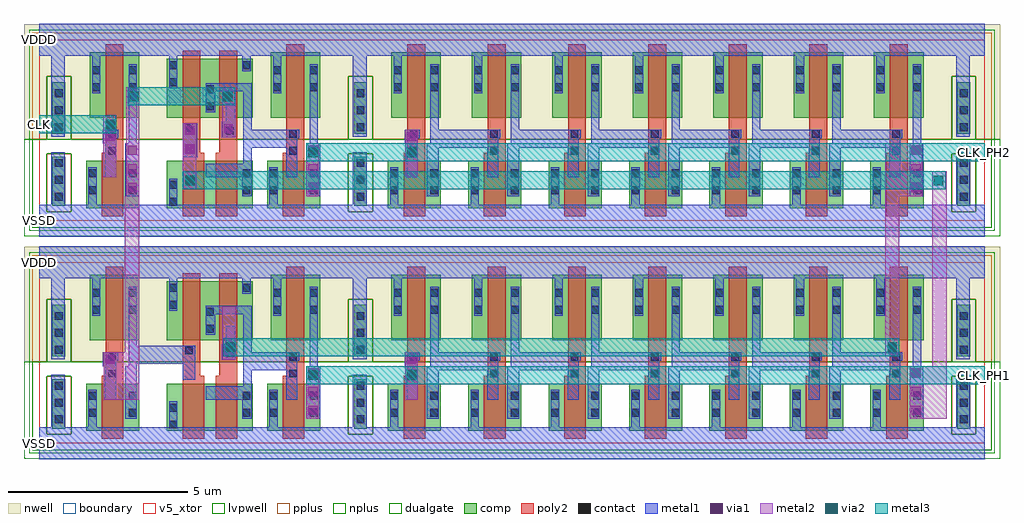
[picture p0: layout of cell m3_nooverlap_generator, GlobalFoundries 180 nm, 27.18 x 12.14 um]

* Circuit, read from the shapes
.subckt m3_nooverlap_generator CLK CLK_PH1 CLK_PH2 VDDD VSSD
XM1 gf180mcu_fd_sc_mcu9t5v0__nand2_1_5/A2 gf180mcu_fd_sc_mcu9t5v0__nand2_1_1/A1 VSSD VSSD nfet_05v0 w=1.32u l=0.6u
XM2 gf180mcu_fd_sc_mcu9t5v0__nand2_1_1/A1 CLK VSSD VSSD nfet_05v0 w=1.32u l=0.6u
XM3 n1 gf180mcu_fd_sc_mcu9t5v0__nand2_1_5/A2 VSSD VSSD nfet_05v0 w=1.32u l=0.6u
XM4 n2 gf180mcu_fd_sc_mcu9t5v0__nand2_1_1/A2 VSSD VSSD nfet_05v0 w=1.32u l=0.6u
XM5 gf180mcu_fd_sc_mcu9t5v0__inv_1_6/I gf180mcu_fd_sc_mcu9t5v0__nand2_1_5/A1 n1 VSSD nfet_05v0 w=1.32u l=0.6u
XM6 gf180mcu_fd_sc_mcu9t5v0__inv_1_16/I gf180mcu_fd_sc_mcu9t5v0__nand2_1_1/A1 n2 VSSD nfet_05v0 w=1.32u l=0.6u
XM7 CLK_PH1 gf180mcu_fd_sc_mcu9t5v0__inv_1_6/I VSSD VSSD nfet_05v0 w=1.32u l=0.6u
XM8 CLK_PH2 gf180mcu_fd_sc_mcu9t5v0__inv_1_16/I VSSD VSSD nfet_05v0 w=1.32u l=0.6u
XM9 gf180mcu_fd_sc_mcu9t5v0__inv_1_9/I CLK_PH1 VSSD VSSD nfet_05v0 w=1.32u l=0.6u
XM10 gf180mcu_fd_sc_mcu9t5v0__inv_1_19/I CLK_PH2 VSSD VSSD nfet_05v0 w=1.32u l=0.6u
XM11 gf180mcu_fd_sc_mcu9t5v0__inv_1_11/I gf180mcu_fd_sc_mcu9t5v0__inv_1_9/I VSSD VSSD nfet_05v0 w=1.32u l=0.6u
XM12 gf180mcu_fd_sc_mcu9t5v0__inv_1_21/I gf180mcu_fd_sc_mcu9t5v0__inv_1_19/I VSSD VSSD nfet_05v0 w=1.32u l=0.6u
XM13 gf180mcu_fd_sc_mcu9t5v0__inv_1_12/I gf180mcu_fd_sc_mcu9t5v0__inv_1_11/I VSSD VSSD nfet_05v0 w=1.32u l=0.6u
XM14 gf180mcu_fd_sc_mcu9t5v0__inv_1_22/I gf180mcu_fd_sc_mcu9t5v0__inv_1_21/I VSSD VSSD nfet_05v0 w=1.32u l=0.6u
XM15 gf180mcu_fd_sc_mcu9t5v0__inv_1_13/I gf180mcu_fd_sc_mcu9t5v0__inv_1_12/I VSSD VSSD nfet_05v0 w=1.32u l=0.6u
XM16 gf180mcu_fd_sc_mcu9t5v0__inv_1_23/I gf180mcu_fd_sc_mcu9t5v0__inv_1_22/I VSSD VSSD nfet_05v0 w=1.32u l=0.6u
XM17 gf180mcu_fd_sc_mcu9t5v0__inv_1_14/I gf180mcu_fd_sc_mcu9t5v0__inv_1_13/I VSSD VSSD nfet_05v0 w=1.32u l=0.6u
XM18 gf180mcu_fd_sc_mcu9t5v0__inv_1_24/I gf180mcu_fd_sc_mcu9t5v0__inv_1_23/I VSSD VSSD nfet_05v0 w=1.32u l=0.6u
XM19 gf180mcu_fd_sc_mcu9t5v0__inv_1_15/I gf180mcu_fd_sc_mcu9t5v0__inv_1_14/I VSSD VSSD nfet_05v0 w=1.32u l=0.6u
XM20 gf180mcu_fd_sc_mcu9t5v0__inv_1_25/I gf180mcu_fd_sc_mcu9t5v0__inv_1_24/I VSSD VSSD nfet_05v0 w=1.32u l=0.6u
XM21 gf180mcu_fd_sc_mcu9t5v0__nand2_1_1/A2 gf180mcu_fd_sc_mcu9t5v0__inv_1_15/I VSSD VSSD nfet_05v0 w=1.32u l=0.6u
XM22 gf180mcu_fd_sc_mcu9t5v0__nand2_1_5/A1 gf180mcu_fd_sc_mcu9t5v0__inv_1_25/I VSSD VSSD nfet_05v0 w=1.32u l=0.6u
XM23 gf180mcu_fd_sc_mcu9t5v0__nand2_1_5/A2 gf180mcu_fd_sc_mcu9t5v0__nand2_1_1/A1 VDDD VDDD pfet_05v0 w=1.83u l=0.5u
XM24 gf180mcu_fd_sc_mcu9t5v0__nand2_1_1/A1 CLK VDDD VDDD pfet_05v0 w=1.83u l=0.5u
XM25 gf180mcu_fd_sc_mcu9t5v0__inv_1_6/I gf180mcu_fd_sc_mcu9t5v0__nand2_1_5/A2 VDDD VDDD pfet_05v0 w=1.645u l=0.5u
XM26 gf180mcu_fd_sc_mcu9t5v0__inv_1_16/I gf180mcu_fd_sc_mcu9t5v0__nand2_1_1/A2 VDDD VDDD pfet_05v0 w=1.645u l=0.5u
XM27 VDDD gf180mcu_fd_sc_mcu9t5v0__nand2_1_5/A1 gf180mcu_fd_sc_mcu9t5v0__inv_1_6/I VDDD pfet_05v0 w=1.645u l=0.5u
XM28 VDDD gf180mcu_fd_sc_mcu9t5v0__nand2_1_1/A1 gf180mcu_fd_sc_mcu9t5v0__inv_1_16/I VDDD pfet_05v0 w=1.645u l=0.5u
XM29 CLK_PH1 gf180mcu_fd_sc_mcu9t5v0__inv_1_6/I VDDD VDDD pfet_05v0 w=1.83u l=0.5u
XM30 CLK_PH2 gf180mcu_fd_sc_mcu9t5v0__inv_1_16/I VDDD VDDD pfet_05v0 w=1.83u l=0.5u
XM31 gf180mcu_fd_sc_mcu9t5v0__inv_1_9/I CLK_PH1 VDDD VDDD pfet_05v0 w=1.83u l=0.5u
XM32 gf180mcu_fd_sc_mcu9t5v0__inv_1_19/I CLK_PH2 VDDD VDDD pfet_05v0 w=1.83u l=0.5u
XM33 gf180mcu_fd_sc_mcu9t5v0__inv_1_11/I gf180mcu_fd_sc_mcu9t5v0__inv_1_9/I VDDD VDDD pfet_05v0 w=1.83u l=0.5u
XM34 gf180mcu_fd_sc_mcu9t5v0__inv_1_21/I gf180mcu_fd_sc_mcu9t5v0__inv_1_19/I VDDD VDDD pfet_05v0 w=1.83u l=0.5u
XM35 gf180mcu_fd_sc_mcu9t5v0__inv_1_12/I gf180mcu_fd_sc_mcu9t5v0__inv_1_11/I VDDD VDDD pfet_05v0 w=1.83u l=0.5u
XM36 gf180mcu_fd_sc_mcu9t5v0__inv_1_22/I gf180mcu_fd_sc_mcu9t5v0__inv_1_21/I VDDD VDDD pfet_05v0 w=1.83u l=0.5u
XM37 gf180mcu_fd_sc_mcu9t5v0__inv_1_13/I gf180mcu_fd_sc_mcu9t5v0__inv_1_12/I VDDD VDDD pfet_05v0 w=1.83u l=0.5u
XM38 gf180mcu_fd_sc_mcu9t5v0__inv_1_23/I gf180mcu_fd_sc_mcu9t5v0__inv_1_22/I VDDD VDDD pfet_05v0 w=1.83u l=0.5u
XM39 gf180mcu_fd_sc_mcu9t5v0__inv_1_14/I gf180mcu_fd_sc_mcu9t5v0__inv_1_13/I VDDD VDDD pfet_05v0 w=1.83u l=0.5u
XM40 gf180mcu_fd_sc_mcu9t5v0__inv_1_24/I gf180mcu_fd_sc_mcu9t5v0__inv_1_23/I VDDD VDDD pfet_05v0 w=1.83u l=0.5u
XM41 gf180mcu_fd_sc_mcu9t5v0__inv_1_15/I gf180mcu_fd_sc_mcu9t5v0__inv_1_14/I VDDD VDDD pfet_05v0 w=1.83u l=0.5u
XM42 gf180mcu_fd_sc_mcu9t5v0__inv_1_25/I gf180mcu_fd_sc_mcu9t5v0__inv_1_24/I VDDD VDDD pfet_05v0 w=1.83u l=0.5u
XM43 gf180mcu_fd_sc_mcu9t5v0__nand2_1_1/A2 gf180mcu_fd_sc_mcu9t5v0__inv_1_15/I VDDD VDDD pfet_05v0 w=1.83u l=0.5u
XM44 gf180mcu_fd_sc_mcu9t5v0__nand2_1_5/A1 gf180mcu_fd_sc_mcu9t5v0__inv_1_25/I VDDD VDDD pfet_05v0 w=1.83u l=0.5u
.ends

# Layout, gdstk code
import gdstk
lib = gdstk.Library(unit=1e-6, precision=5e-09)
def R(c, l, rs):  # rectangles x0, y0, x1, y1
    for r in rs: c.add(gdstk.rectangle(r[:2], r[2:], *l))
def A(c, l, x, y, w, h, nx, ny, dx, dy):  # array of equal rectangles
    R(c, l, [(x+i*dx, y+j*dy, x+i*dx+w, y+j*dy+h) for i in range(nx) for j in range(ny)])
def P(c, l, *ps):  # polygons
    for p in ps: c.add(gdstk.Polygon(p, *l))
boundary = (0, 0)
nwell = (21, 0)
comp = (22, 0)
poly2 = (30, 0)
pplus = (31, 0)
nplus = (32, 0)
contact = (33, 0)
metal1 = (34, 0)
via1 = (35, 0)
metal2 = (36, 0)
via2 = (38, 0)
metal3 = (42, 0)
dualgate = (55, 0)
v5_xtor = (112, 1)
lvpwell = (204, 0)

gf180mcu_fd_sc_mcu9t5v0_ = lib.new_cell('gf180mcu_fd_sc_mcu9t5v0__inv_1')
R(gf180mcu_fd_sc_mcu9t5v0_, boundary, [(0,0,2.24,5.04)])
R(gf180mcu_fd_sc_mcu9t5v0_, nwell, [(-0.43,2.265,2.67,5.47)])
R(gf180mcu_fd_sc_mcu9t5v0_, comp, [(0.18,0.345,1.66,1.665), (0.28,2.865,1.66,4.695)])
P(gf180mcu_fd_sc_mcu9t5v0_, poly2, [(0.62,0.125),(0.62,1.885),(0.72,1.885),(0.72,4.915),(1.22,4.915),(1.22,0.125)])
R(gf180mcu_fd_sc_mcu9t5v0_, pplus, [(-0.2,2.265,2.44,5.24)])
R(gf180mcu_fd_sc_mcu9t5v0_, nplus, [(-0.2,-0.2,2.44,2.265)])
R(gf180mcu_fd_sc_mcu9t5v0_, contact, [(0.25,0.74,0.47,0.96), (1.37,0.74,1.59,0.96), (0.25,1.21,0.47,1.43), (1.37,1.21,1.59,1.43), (0.79,1.835,1.01,2.055), (0.79,2.305,1.01,2.525), (0.35,3.61,0.57,3.83), (1.37,3.61,1.59,3.83), (0.35,4.08,0.57,4.3), (1.37,4.08,1.59,4.3)])
P(gf180mcu_fd_sc_mcu9t5v0_, metal1, [(0.71,1.21),(0.71,2.53),(1.07,2.53),(1.07,2.3),(1.015,2.3),(1.015,1.21)],
  [(1.27,0.68),(1.27,2.15),(1.365,2.15),(1.365,4.36),(1.595,4.36),(1.595,0.68)],
  [(0,-0.45),(0,0.45),(0.245,0.45),(0.245,1.49),(0.475,1.49),(0.475,0.45),(2.24,0.45),(2.24,-0.45)],
  [(0.345,3.55),(0.345,4.59),(0,4.59),(0,5.49),(2.24,5.49),(2.24,4.59),(0.575,4.59),(0.575,3.55)])
R(gf180mcu_fd_sc_mcu9t5v0_, dualgate, [(-0.28,-0.28,2.52,5.32)])
R(gf180mcu_fd_sc_mcu9t5v0_, v5_xtor, [(0,0,2.24,5.04)])
R(gf180mcu_fd_sc_mcu9t5v0_, lvpwell, [(-0.43,-0.43,2.67,2.265)])
gf180mcu_fd_sc_mcu9t5v0_.add(gdstk.Label('I', (0.84,1.96), layer=34, texttype=10))
gf180mcu_fd_sc_mcu9t5v0_.add(gdstk.Label('VDD', (1.12,5.49), layer=34, texttype=10))
gf180mcu_fd_sc_mcu9t5v0_.add(gdstk.Label('VSS', (1.12,-0.45), layer=34, texttype=10))
gf180mcu_fd_sc_mcu9t5v0_.add(gdstk.Label('ZN', (1.4,1.96), layer=34, texttype=10))
gf180mcu_fd_sc_mcu9t5v0_.add(gdstk.Label('& Vendor GLOBALFOUNDRIES', (0,2), layer=63, texttype=63))
gf180mcu_fd_sc_mcu9t5v0_.add(gdstk.Label('& Product GF018hv5v_green_sc9', (0,1.5), layer=63, texttype=63))
gf180mcu_fd_sc_mcu9t5v0_.add(gdstk.Label('& Version 2015q2v2', (0,1), layer=63, texttype=63))
gf180mcu_fd_sc_mcu9t5v0_.add(gdstk.Label('& Metric 1.00', (0,0.5), layer=63, texttype=63))
gf180mcu_fd_sc_mcu9t5v0_.add(gdstk.Label('VNW', (0.345,3.92), layer=21, texttype=10))
gf180mcu_fd_sc_mcu9t5v0_.add(gdstk.Label('VPW', (0.34,-0.085), layer=204, texttype=10))

c_gf180mcu_fd_sc_mcu9t5v0_ = lib.new_cell('gf180mcu_fd_sc_mcu9t5v0__nand2_1')
R(c_gf180mcu_fd_sc_mcu9t5v0_, boundary, [(0,0,2.8,5.04)])
R(c_gf180mcu_fd_sc_mcu9t5v0_, nwell, [(-0.43,2.265,3.23,5.47)])
R(c_gf180mcu_fd_sc_mcu9t5v0_, comp, [(0.185,0.345,2.585,1.665), (0.185,2.865,2.585,4.51)])
P(c_gf180mcu_fd_sc_mcu9t5v0_, poly2, [(0.625,0.125),(0.625,4.73),(1.125,4.73),(1.125,1.885),(1.225,1.885),(1.225,0.125)],
  [(1.545,0.125),(1.545,1.885),(1.645,1.885),(1.645,4.73),(2.145,4.73),(2.145,0.125)])
R(c_gf180mcu_fd_sc_mcu9t5v0_, pplus, [(-0.2,2.265,3,5.24)])
R(c_gf180mcu_fd_sc_mcu9t5v0_, nplus, [(-0.2,-0.2,3,2.265)])
R(c_gf180mcu_fd_sc_mcu9t5v0_, contact, [(0.255,0.415,0.475,0.635), (2.295,0.74,2.515,0.96), (0.255,0.885,0.475,1.105), (2.295,1.21,2.515,1.43), (1.835,2.39,2.055,2.61), (0.695,2.475,0.915,2.695), (1.275,3.08,1.495,3.3), (1.275,3.55,1.495,3.77), (0.255,3.75,0.475,3.97), (0.255,4.22,0.475,4.44), (2.295,4.22,2.515,4.44)])
R(c_gf180mcu_fd_sc_mcu9t5v0_, metal1, [(0.635,1.77,0.975,2.71), (1.83,2.33,2.09,3.27)])
P(c_gf180mcu_fd_sc_mcu9t5v0_, metal1, [(2.29,0.68),(2.29,1.21),(1.27,1.21),(1.27,1.59),(2.32,1.59),(2.32,3.6),(1.53,3.6),(1.53,3.02),(1.27,3.02),(1.27,3.83),(2.55,3.83),(2.55,0.68)],
  [(0,-0.45),(0,0.45),(0.25,0.45),(0.25,1.165),(0.48,1.165),(0.48,0.45),(2.8,0.45),(2.8,-0.45)],
  [(0.25,3.69),(0.25,4.59),(0,4.59),(0,5.49),(2.8,5.49),(2.8,4.59),(2.52,4.59),(2.52,4.16),(2.29,4.16),(2.29,4.59),(0.48,4.59),(0.48,3.69)])
R(c_gf180mcu_fd_sc_mcu9t5v0_, dualgate, [(-0.28,-0.28,3.08,5.32)])
R(c_gf180mcu_fd_sc_mcu9t5v0_, v5_xtor, [(0,0,2.8,5.04)])
R(c_gf180mcu_fd_sc_mcu9t5v0_, lvpwell, [(-0.43,-0.43,3.23,2.265)])
c_gf180mcu_fd_sc_mcu9t5v0_.add(gdstk.Label('A1', (1.96,2.52), layer=34, texttype=10))
c_gf180mcu_fd_sc_mcu9t5v0_.add(gdstk.Label('A2', (0.84,1.96), layer=34, texttype=10))
c_gf180mcu_fd_sc_mcu9t5v0_.add(gdstk.Label('VDD', (1.4,5.49), layer=34, texttype=10))
c_gf180mcu_fd_sc_mcu9t5v0_.add(gdstk.Label('VSS', (1.4,-0.45), layer=34, texttype=10))
c_gf180mcu_fd_sc_mcu9t5v0_.add(gdstk.Label('ZN', (1.96,1.4), layer=34, texttype=10))
c_gf180mcu_fd_sc_mcu9t5v0_.add(gdstk.Label('& Vendor GLOBALFOUNDRIES', (0,2), layer=63, texttype=63))
c_gf180mcu_fd_sc_mcu9t5v0_.add(gdstk.Label('& Product GF018hv5v_green_sc9', (0,1.5), layer=63, texttype=63))
c_gf180mcu_fd_sc_mcu9t5v0_.add(gdstk.Label('& Version 2015q2v2', (0,1), layer=63, texttype=63))
c_gf180mcu_fd_sc_mcu9t5v0_.add(gdstk.Label('& Metric 1.00', (0,0.5), layer=63, texttype=63))
c_gf180mcu_fd_sc_mcu9t5v0_.add(gdstk.Label('VNW', (0.345,3.92), layer=21, texttype=10))
c_gf180mcu_fd_sc_mcu9t5v0_.add(gdstk.Label('VPW', (0.34,-0.085), layer=204, texttype=10))

c_gf180mcu_fd_sc_mcu9t5v0__ = lib.new_cell('gf180mcu_fd_sc_mcu9t5v0__filltie')
R(c_gf180mcu_fd_sc_mcu9t5v0__, boundary, [(0,0,1.12,5.04)])
R(c_gf180mcu_fd_sc_mcu9t5v0__, nwell, [(-0.43,2.265,1.55,5.47)])
R(c_gf180mcu_fd_sc_mcu9t5v0__, comp, [(0.36,0.41,0.72,1.785), (0.36,2.425,0.72,3.855)])
R(c_gf180mcu_fd_sc_mcu9t5v0__, pplus, [(0.2,0.25,0.88,1.865)])
P(c_gf180mcu_fd_sc_mcu9t5v0__, pplus, [(-0.2,2.265),(-0.2,5.24),(1.32,5.24),(1.32,2.265),(0.88,2.265),(0.88,4.015),(0.2,4.015),(0.2,2.265)])
P(c_gf180mcu_fd_sc_mcu9t5v0__, nplus, [(-0.2,-0.2),(-0.2,2.265),(0.2,2.265),(0.2,4.015),(0.88,4.015),(0.88,1.865),(0.2,1.865),(0.2,0.25),(0.88,0.25),(0.88,4.015),(0.88,2.265),(1.32,2.265),(1.32,-0.2)])
A(c_gf180mcu_fd_sc_mcu9t5v0__, contact, 0.43, 0.555, 0.22, 0.22, 1, 3, 0, 0.47)
A(c_gf180mcu_fd_sc_mcu9t5v0__, contact, 0.43, 2.495, 0.22, 0.22, 1, 3, 0, 0.47)
P(c_gf180mcu_fd_sc_mcu9t5v0__, metal1, [(0,-0.45),(0,0.45),(0.33,0.45),(0.33,1.91),(0.71,1.91),(0.71,0.45),(1.12,0.45),(1.12,-0.45)],
  [(0.33,2.34),(0.33,4.59),(0,4.59),(0,5.49),(1.12,5.49),(1.12,4.59),(0.71,4.59),(0.71,2.34)])
R(c_gf180mcu_fd_sc_mcu9t5v0__, dualgate, [(-0.28,-0.28,1.4,5.32)])
R(c_gf180mcu_fd_sc_mcu9t5v0__, v5_xtor, [(0,0,1.12,5.04)])
R(c_gf180mcu_fd_sc_mcu9t5v0__, lvpwell, [(-0.43,-0.43,1.55,2.265)])
c_gf180mcu_fd_sc_mcu9t5v0__.add(gdstk.Label('VSS', (0.56,-0.45), layer=34, texttype=10))
c_gf180mcu_fd_sc_mcu9t5v0__.add(gdstk.Label('VDD', (0.56,5.49), layer=34, texttype=10))
c_gf180mcu_fd_sc_mcu9t5v0__.add(gdstk.Label('& Vendor GLOBALFOUNDRIES', (0,2), layer=63, texttype=63))
c_gf180mcu_fd_sc_mcu9t5v0__.add(gdstk.Label('& Product GF018hv5v_green_sc9', (0,1.5), layer=63, texttype=63))
c_gf180mcu_fd_sc_mcu9t5v0__.add(gdstk.Label('& Version 2015q2v2', (0,1), layer=63, texttype=63))
c_gf180mcu_fd_sc_mcu9t5v0__.add(gdstk.Label('& Metric 1.00', (0,0.5), layer=63, texttype=63))

m3_nooverlap_generator = lib.new_cell('m3_nooverlap_generator')
R(m3_nooverlap_generator, metal1, [(6.85,-5.79,6.91,-4.32), (23.65,-5.79,23.71,-4.32), (0.865,-4.32,0.925,-3.94), (9.265,-4.32,9.325,-3.94), (4.175,-4.14,4.285,-3.71), (4.285,-3.2,4.545,-3.19), (1.81,0.41,1.87,1.88), (6.85,0.41,6.91,1.88), (23.65,0.41,23.71,1.88), (3.43,1.5,3.49,2.44), (0.865,1.88,0.925,2.26), (9.265,1.88,9.325,2.26), (4.175,2.06,4.285,2.49)])
A(m3_nooverlap_generator, via1, 6.58, -5.68, 0.26, 0.26, 1, 3, 0, 0.52)
A(m3_nooverlap_generator, via1, 23.38, -5.68, 0.26, 0.26, 1, 3, 0, 0.52)
A(m3_nooverlap_generator, via1, 1.55, 0.52, 0.26, 0.26, 1, 3, 0, 0.52)
A(m3_nooverlap_generator, via1, 6.58, 0.52, 0.26, 0.26, 1, 3, 0, 0.52)
A(m3_nooverlap_generator, via1, 23.38, 0.52, 0.26, 0.26, 1, 3, 0, 0.52)
R(m3_nooverlap_generator, via1, [(0.93,-4.26,1.19,-4), (9.325,-4.26,9.585,-4), (4.225,-4.03,4.485,-3.77), (3.16,1.6,3.42,1.86), (0.93,1.94,1.19,2.2), (9.325,1.94,9.585,2.2), (3.16,2.12,3.42,2.38), (4.225,2.17,4.485,2.43)])
R(m3_nooverlap_generator, metal2, [(6.525,-5.79,6.88,-4.32), (23.325,-5.79,23.96,-4.32), (0.89,-5.26,1.475,-3.94), (9.285,-5.26,9.63,-3.94), (4.185,-4.14,4.555,-2.67), (1.51,0.41,1.875,3.44), (6.525,0.41,6.88,1.88), (23.045,0.41,23.68,1.88), (3.09,0.6,3.46,2.44), (0.87,0.94,1.23,2.66), (9.285,0.94,9.63,2.26), (4.185,2.06,4.555,3.44)])
R(m3_nooverlap_generator, via2, [(6.58,-4.7,6.84,-4.44), (9.325,-4.7,9.585,-4.44), (4.285,-3.92,4.545,-3.66), (22.715,-3.92,22.975,-3.66), (3.16,0.72,3.42,0.98), (24,0.72,24.26,0.98), (6.58,1.5,6.84,1.76), (9.325,1.5,9.585,1.76), (0.935,2.28,1.195,2.54), (1.605,3.06,1.865,3.32), (4.205,3.06,4.465,3.32)])
m3_nooverlap_generator.add(gdstk.FlexPath([(5.005,-4.19),(5.965,-4.19)], 0.5, ends="flush", simple_path=True, layer=34, datatype=0))  # metal1
m3_nooverlap_generator.add(gdstk.FlexPath([(10.21,-4.19),(11.565,-4.19)], 0.5, ends="flush", simple_path=True, layer=34, datatype=0))  # metal1
m3_nooverlap_generator.add(gdstk.FlexPath([(12.45,-4.19),(13.805,-4.19)], 0.5, ends="flush", simple_path=True, layer=34, datatype=0))  # metal1
m3_nooverlap_generator.add(gdstk.FlexPath([(5.005,2.01),(5.965,2.01)], 0.5, ends="flush", simple_path=True, layer=34, datatype=0))  # metal1
m3_nooverlap_generator.add(gdstk.FlexPath([(16.93,-4.19),(18.285,-4.19)], 0.5, ends="flush", simple_path=True, layer=34, datatype=0))  # metal1
m3_nooverlap_generator.add(gdstk.FlexPath([(19.17,-4.19),(20.525,-4.19)], 0.5, ends="flush", simple_path=True, layer=34, datatype=0))  # metal1
m3_nooverlap_generator.add(gdstk.FlexPath([(21.41,-4.19),(22.765,-4.19)], 0.5, ends="flush", simple_path=True, layer=34, datatype=0))  # metal1
m3_nooverlap_generator.add(gdstk.FlexPath([(10.21,2.01),(11.565,2.01)], 0.5, ends="flush", simple_path=True, layer=34, datatype=0))  # metal1
m3_nooverlap_generator.add(gdstk.FlexPath([(12.45,2.01),(13.805,2.01)], 0.5, ends="flush", simple_path=True, layer=34, datatype=0))  # metal1
m3_nooverlap_generator.add(gdstk.FlexPath([(16.93,2.01),(18.285,2.01)], 0.5, ends="flush", simple_path=True, layer=34, datatype=0))  # metal1
m3_nooverlap_generator.add(gdstk.FlexPath([(19.17,2.01),(20.525,2.01)], 0.5, ends="flush", simple_path=True, layer=34, datatype=0))  # metal1
m3_nooverlap_generator.add(gdstk.FlexPath([(21.41,2.01),(22.765,2.01)], 0.5, ends="flush", simple_path=True, layer=34, datatype=0))  # metal1
m3_nooverlap_generator.add(gdstk.FlexPath([(1.81,-4.01),(3.09,-4.01)], 0.5, ends="flush", simple_path=True, layer=34, datatype=0))  # metal1
m3_nooverlap_generator.add(gdstk.FlexPath([(-0.905,4.77),(25.415,4.77)], 0.9, ends="flush", simple_path=True, layer=34, datatype=0))  # metal1
m3_nooverlap_generator.add(gdstk.FlexPath([(-0.905,-0.27),(25.415,-0.27)], 0.9, ends="flush", simple_path=True, layer=34, datatype=0))  # metal1
m3_nooverlap_generator.add(gdstk.FlexPath([(-0.905,-1.43),(25.415,-1.43)], 0.9, ends="flush", simple_path=True, layer=34, datatype=0))  # metal1
m3_nooverlap_generator.add(gdstk.FlexPath([(-0.905,-6.47),(25.415,-6.47)], 0.9, ends="flush", simple_path=True, layer=34, datatype=0))  # metal1
m3_nooverlap_generator.add(gdstk.FlexPath([(14.69,-4.19),(16.045,-4.19)], 0.5, ends="flush", simple_path=True, layer=34, datatype=0))  # metal1
m3_nooverlap_generator.add(gdstk.FlexPath([(14.69,2.01),(16.045,2.01)], 0.5, ends="flush", simple_path=True, layer=34, datatype=0))  # metal1
m3_nooverlap_generator.add(gdstk.FlexPath([(24.16,-5.79),(24.16,1.1)], 0.4, ends="flush", simple_path=True, layer=36, datatype=0))  # metal2
m3_nooverlap_generator.add(gdstk.FlexPath([(22.845,-4.04),(22.845,1.88)], 0.4, ends="flush", simple_path=True, layer=36, datatype=0))  # metal2
m3_nooverlap_generator.add(gdstk.FlexPath([(1.675,-5.26),(1.675,0.41)], 0.4, ends="flush", simple_path=True, layer=36, datatype=0))  # metal2
m3_nooverlap_generator.add(gdstk.FlexPath([(6.525,-4.57),(25.415,-4.57)], 0.5, ends="flush", simple_path=True, layer=42, datatype=0))  # metal3
m3_nooverlap_generator.add(gdstk.FlexPath([(6.525,1.63),(25.415,1.63)], 0.5, ends="flush", simple_path=True, layer=42, datatype=0))  # metal3
m3_nooverlap_generator.add(gdstk.FlexPath([(4.22,-3.79),(23.045,-3.79)], 0.5, ends="flush", simple_path=True, layer=42, datatype=0))  # metal3
m3_nooverlap_generator.add(gdstk.FlexPath([(3.09,0.85),(24.33,0.85)], 0.5, ends="flush", simple_path=True, layer=42, datatype=0))  # metal3
m3_nooverlap_generator.add(gdstk.FlexPath([(-0.905,2.41),(1.23,2.41)], 0.5, ends="flush", simple_path=True, layer=42, datatype=0))  # metal3
m3_nooverlap_generator.add(gdstk.FlexPath([(1.55,3.19),(4.545,3.19)], 0.5, ends="flush", simple_path=True, layer=42, datatype=0))  # metal3
m3_nooverlap_generator.add(gdstk.Reference(gf180mcu_fd_sc_mcu9t5v0_, (0.215,-0.27)))
m3_nooverlap_generator.add(gdstk.Reference(c_gf180mcu_fd_sc_mcu9t5v0_, (2.455,-0.27)))
m3_nooverlap_generator.add(gdstk.Reference(c_gf180mcu_fd_sc_mcu9t5v0__, (-0.905,-0.27)))
m3_nooverlap_generator.add(gdstk.Reference(gf180mcu_fd_sc_mcu9t5v0_, (0.215,-6.47)))
m3_nooverlap_generator.add(gdstk.Reference(c_gf180mcu_fd_sc_mcu9t5v0__, (-0.905,-6.47)))
m3_nooverlap_generator.add(gdstk.Reference(c_gf180mcu_fd_sc_mcu9t5v0_, (2.455,-6.47)))
m3_nooverlap_generator.add(gdstk.Reference(gf180mcu_fd_sc_mcu9t5v0_, (5.255,-6.47)))
m3_nooverlap_generator.add(gdstk.Reference(c_gf180mcu_fd_sc_mcu9t5v0__, (7.495,-6.47)))
m3_nooverlap_generator.add(gdstk.Reference(gf180mcu_fd_sc_mcu9t5v0_, (8.615,-6.47)))
m3_nooverlap_generator.add(gdstk.Reference(gf180mcu_fd_sc_mcu9t5v0_, (10.855,-6.47)))
m3_nooverlap_generator.add(gdstk.Reference(c_gf180mcu_fd_sc_mcu9t5v0__, (24.295,-6.47)))
m3_nooverlap_generator.add(gdstk.Reference(gf180mcu_fd_sc_mcu9t5v0_, (13.095,-6.47)))
m3_nooverlap_generator.add(gdstk.Reference(gf180mcu_fd_sc_mcu9t5v0_, (15.335,-6.47)))
m3_nooverlap_generator.add(gdstk.Reference(gf180mcu_fd_sc_mcu9t5v0_, (17.575,-6.47)))
m3_nooverlap_generator.add(gdstk.Reference(gf180mcu_fd_sc_mcu9t5v0_, (19.815,-6.47)))
m3_nooverlap_generator.add(gdstk.Reference(gf180mcu_fd_sc_mcu9t5v0_, (22.055,-6.47)))
m3_nooverlap_generator.add(gdstk.Reference(gf180mcu_fd_sc_mcu9t5v0_, (5.255,-0.27)))
m3_nooverlap_generator.add(gdstk.Reference(c_gf180mcu_fd_sc_mcu9t5v0__, (7.495,-0.27)))
m3_nooverlap_generator.add(gdstk.Reference(gf180mcu_fd_sc_mcu9t5v0_, (8.615,-0.27)))
m3_nooverlap_generator.add(gdstk.Reference(gf180mcu_fd_sc_mcu9t5v0_, (10.855,-0.27)))
m3_nooverlap_generator.add(gdstk.Reference(c_gf180mcu_fd_sc_mcu9t5v0__, (24.295,-0.27)))
m3_nooverlap_generator.add(gdstk.Reference(gf180mcu_fd_sc_mcu9t5v0_, (13.095,-0.27)))
m3_nooverlap_generator.add(gdstk.Reference(gf180mcu_fd_sc_mcu9t5v0_, (15.335,-0.27)))
m3_nooverlap_generator.add(gdstk.Reference(gf180mcu_fd_sc_mcu9t5v0_, (17.575,-0.27)))
m3_nooverlap_generator.add(gdstk.Reference(gf180mcu_fd_sc_mcu9t5v0_, (19.815,-0.27)))
m3_nooverlap_generator.add(gdstk.Reference(gf180mcu_fd_sc_mcu9t5v0_, (22.055,-0.27)))
m3_nooverlap_generator.add(gdstk.Label('VDDD', (-0.89,4.77), layer=34, texttype=10))
m3_nooverlap_generator.add(gdstk.Label('VSSD', (-0.89,-0.27), layer=34, texttype=10))
m3_nooverlap_generator.add(gdstk.Label('VDDD', (-0.905,-1.43), layer=34, texttype=10))
m3_nooverlap_generator.add(gdstk.Label('VSSD', (-0.905,-6.47), layer=34, texttype=10))
m3_nooverlap_generator.add(gdstk.Label('CLK', (-0.89,2.41), layer=42, texttype=10))
m3_nooverlap_generator.add(gdstk.Label('CLK_PH1', (25.4,-4.57), layer=42, texttype=10))
m3_nooverlap_generator.add(gdstk.Label('CLK_PH2', (25.4,1.63), layer=42, texttype=10))

lib.write_gds('m3_nooverlap_generator.gds')
